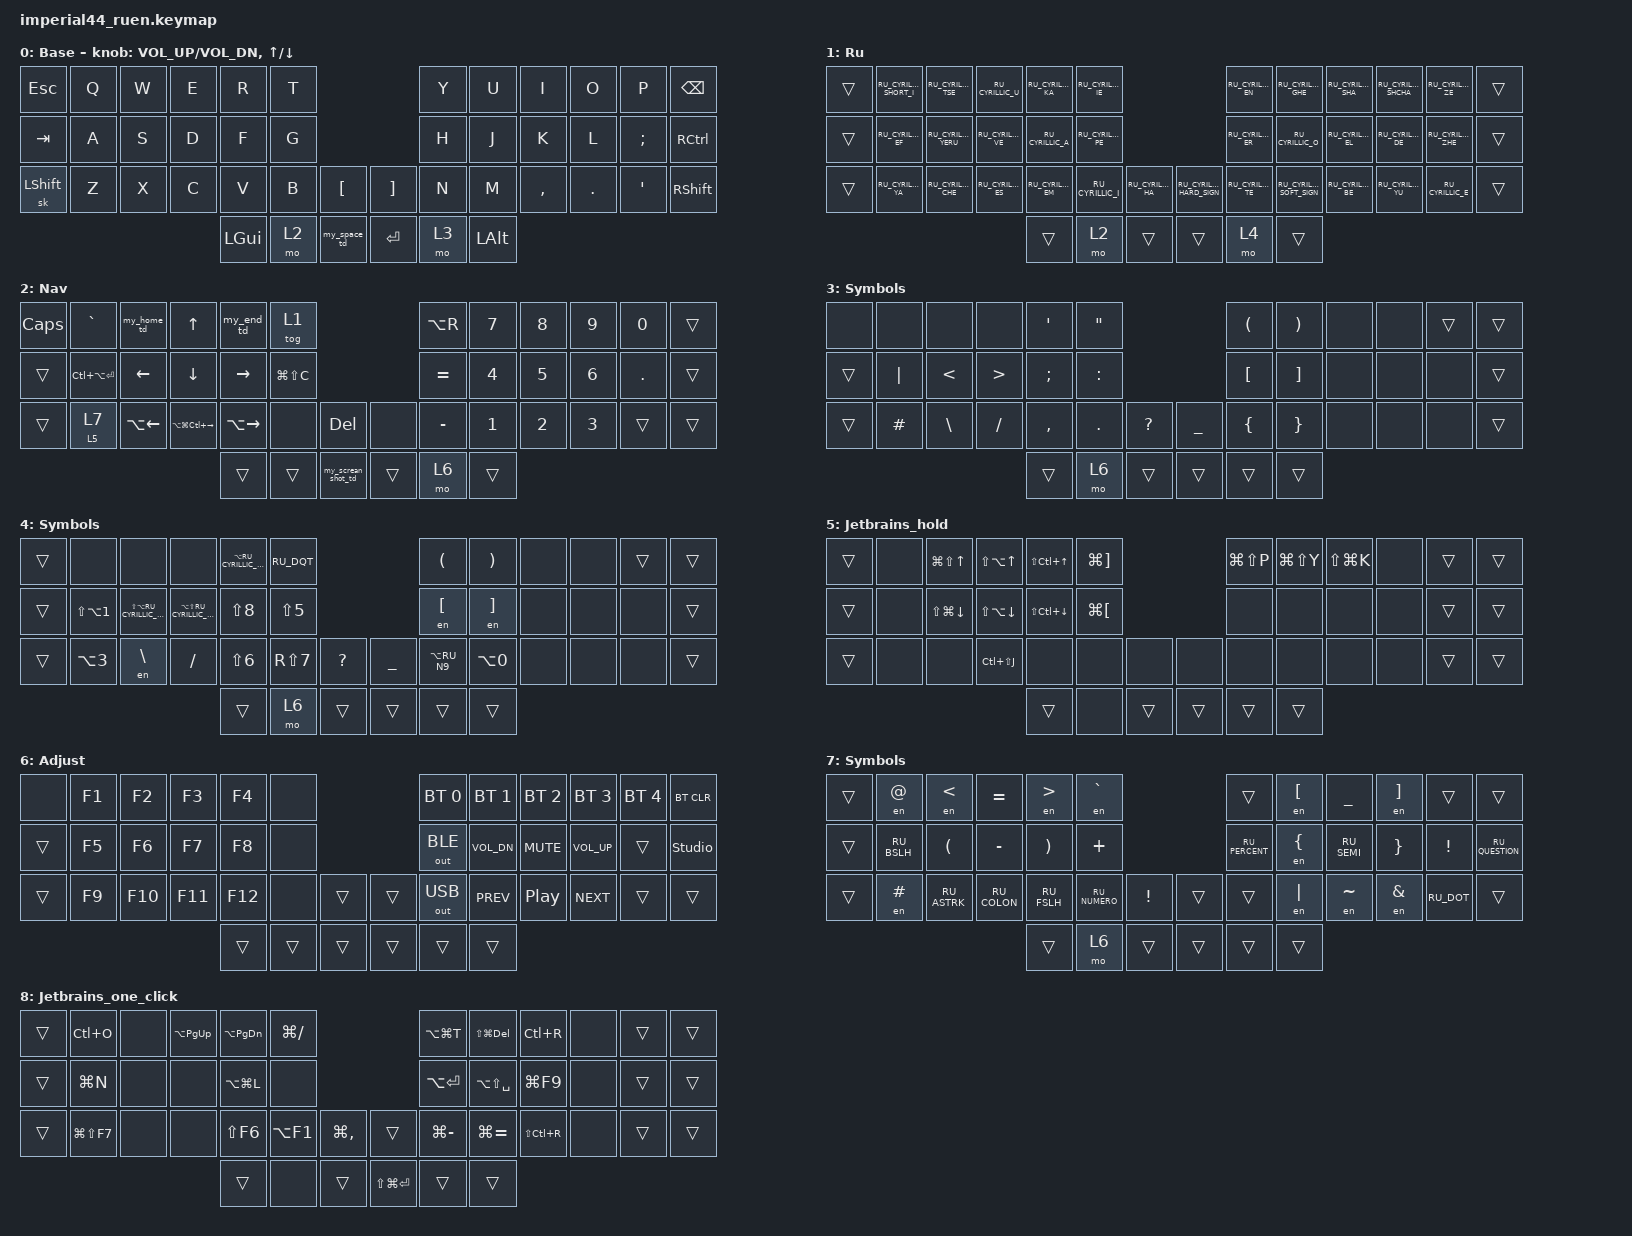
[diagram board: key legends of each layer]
#include "keys_ru.h"
#include <behaviors.dtsi>
#include <dt-bindings/zmk/bt.h>
#include <dt-bindings/zmk/keys.h>
#include <dt-bindings/zmk/outputs.h>

/ {
    combos {
        compatible = "zmk,combos";

        cmben {
            bindings = <&layer_en>;
            key-positions = <15 16>;
            layers = <1>;
        };

        cmbru {
            bindings = <&layer_ru>;
            key-positions = <15 16>;
            layers = <0>;
        };

        ley_jet {
            bindings = <&my_hold_tap_layers 5 8>;
            key-positions = <39 38>;
        };
    };

    macros {
        to_ru: to_ru {
            compatible = "zmk,behavior-macro";
            #binding-cells = <0>;
            bindings = <&kp LC(SPACE)>;
            label = "TO_RU";
            wait-ms = <0>;
            tap-ms = <30>;
        };

        to_en: to_en {
            compatible = "zmk,behavior-macro";
            #binding-cells = <0>;
            bindings = <&kp LC(SPACE)>;
            label = "TO_EN";
            wait-ms = <0>;
            tap-ms = <30>;
        };

        layer_en: layer_en {
            compatible = "zmk,behavior-macro";
            #binding-cells = <0>;
            bindings = <&to 0 &to_en>;
            label = "LAYER_EN";
            wait-ms = <0>;
            tap-ms = <30>;
        };

        layer_ru: layer_ru {
            compatible = "zmk,behavior-macro";
            #binding-cells = <0>;
            bindings = <&to 1 &to_ru>;
            label = "LAYER_RU";
            tap-ms = <30>;
            wait-ms = <0>;
        };

        en: en {
            compatible = "zmk,behavior-macro-one-param";
            #binding-cells = <1>;
            bindings =
                <&to_en>,
                <&macro_press>,
                <&macro_param_1to1 &kp MACRO_PLACEHOLDER>,
                <&macro_pause_for_release>,
                <&macro_release>,
                <&macro_param_1to1 &kp MACRO_PLACEHOLDER>,
                <&macro_tap>,
                <&to_ru>;

            label = "EN";
            wait-ms = <0>;
            tap-ms = <30>;
        };

        lg_tog: lg_tog {
            compatible = "zmk,behavior-macro";
            #binding-cells = <0>;
            bindings = <&kp LC(SPACE) &tog 1>;
            label = "LG_TOG";
        };
    };

    behaviors {
        lg_space: lg_space {
            compatible = "zmk,behavior-mod-morph";
            label = "LG_SPACE";
            bindings = <&kp SPACE>, <&lg_tog>;

            #binding-cells = <0>;
            mods = <(MOD_RCTL)>;
        };

        my_space_td: my_space_td {
            compatible = "zmk,behavior-tap-dance";
            label = "MY_SPACE_TD";
            #binding-cells = <0>;
            bindings = <&kp SPACE>, <&lg_tog>;
        };

        my_screan_shot_td: my_screan_shot_td {
            compatible = "zmk,behavior-tap-dance";
            label = "MY_SCREAN_SHOT_TD";
            #binding-cells = <0>;
            bindings = <&kp LS(LG(N4))>, <&kp LS(LG(N5))>;
        };

        my_end_td: my_end_td {
            compatible = "zmk,behavior-tap-dance";
            label = "MY_END_TD";
            #binding-cells = <0>;
            bindings = <&kp LG(RIGHT_ARROW)>, <&kp LS(LG(RIGHT_ARROW))>;
        };

        my_home_td: my_home_td {
            compatible = "zmk,behavior-tap-dance";
            label = "MY_HOME_TD";
            #binding-cells = <0>;
            bindings = <&kp LG(LEFT_ARROW)>, <&kp LG(LS(LEFT_ARROW))>;
        };

        my_hold_tap_layers: my_hold_tap_layers {
            compatible = "zmk,behavior-hold-tap";
            label = "MY_HOLD_TAP_LAYERS";
            bindings = <&mo>, <&sl>;

            #binding-cells = <2>;
            tapping-term-ms = <200>;
            flavor = "tap-preferred";
        };
    };

    keymap {
        compatible = "zmk,keymap";

        en {
            bindings = <
&kp ESC    &kp Q  &kp W  &kp E  &kp R         &kp T                             &kp Y  &kp U         &kp I      &kp O    &kp P     &kp BACKSPACE
&kp TAB    &kp A  &kp S  &kp D  &kp F         &kp G                             &kp H  &kp J         &kp K      &kp L    &kp SEMI  &kp RCTRL
&sk LSHFT  &kp Z  &kp X  &kp C  &kp V         &kp B  &kp LBKT        &kp RBKT   &kp N  &kp M         &kp COMMA  &kp DOT  &kp SQT   &kp RSHFT
                                &kp LEFT_GUI  &mo 2  &my_space_td    &kp ENTER  &mo 3  &kp LEFT_ALT
            >;

            display-name = "Base";
            sensor-bindings =
                <&inc_dec_kp C_VOL_UP C_VOL_DN>,
                <&inc_dec_kp UP DOWN_ARROW>;
        };

        ru {
            display-name = "Ru";
            bindings = <
&trans  &kp RU_CYRILLIC_SHORT_I  &kp RU_CYRILLIC_TSE   &kp RU_CYRILLIC_U   &kp RU_CYRILLIC_KA  &kp RU_CYRILLIC_IE                                                   &kp RU_CYRILLIC_EN  &kp RU_CYRILLIC_GHE        &kp RU_CYRILLIC_SHA  &kp RU_CYRILLIC_SHCHA  &kp RU_CYRILLIC_ZE   &trans
&trans  &kp RU_CYRILLIC_EF       &kp RU_CYRILLIC_YERU  &kp RU_CYRILLIC_VE  &kp RU_CYRILLIC_A   &kp RU_CYRILLIC_PE                                                   &kp RU_CYRILLIC_ER  &kp RU_CYRILLIC_O          &kp RU_CYRILLIC_EL   &kp RU_CYRILLIC_DE     &kp RU_CYRILLIC_ZHE  &trans
&trans  &kp RU_CYRILLIC_YA       &kp RU_CYRILLIC_CHE   &kp RU_CYRILLIC_ES  &kp RU_CYRILLIC_EM  &kp RU_CYRILLIC_I   &kp RU_CYRILLIC_HA    &kp RU_CYRILLIC_HARD_SIGN  &kp RU_CYRILLIC_TE  &kp RU_CYRILLIC_SOFT_SIGN  &kp RU_CYRILLIC_BE   &kp RU_CYRILLIC_YU     &kp RU_CYRILLIC_E    &trans
                                                                           &trans              &mo 2               &trans                &trans                     &mo 4               &trans
            >;
        };

        nav {
            bindings = <
&kp CAPS  &kp GRAVE                &my_home_td   &kp UP                       &my_end_td     &tog 1                                       &kp LA(R)  &kp N7  &kp N8  &kp N9  &kp N0   &trans
&trans    &kp LC(LA(ENTER))        &kp LEFT      &kp DOWN                     &kp RIGHT      &kp LG(LS(C))                                &kp EQUAL  &kp N4  &kp N5  &kp N6  &kp DOT  &trans
&trans    &my_hold_tap_layers 5 7  &kp LA(LEFT)  &kp LA(LG(LC(RIGHT_ARROW)))  &kp LA(RIGHT)  &none          &kp DELETE            &none   &kp MINUS  &kp N1  &kp N2  &kp N3  &trans   &trans
                                                                              &trans         &trans         &my_screan_shot_td    &trans  &mo 6      &trans
            >;

            display-name = "Nav";
        };

        sym_en {
            bindings = <
&none   &none     &none          &none             &kp SQT    &kp DQT                            &kp LPAR          &kp RPAR           &none  &none  &trans  &trans
&trans  &kp PIPE  &kp LESS_THAN  &kp GREATER_THAN  &kp SEMI   &kp COLON                          &kp LEFT_BRACKET  &kp RIGHT_BRACKET  &none  &none  &none   &trans
&trans  &kp HASH  &kp BSLH       &kp FSLH          &kp COMMA  &kp DOT    &kp QMARK    &kp UNDER  &kp LEFT_BRACE    &kp RIGHT_BRACE    &none  &none  &none   &trans
                                                   &trans     &mo 6      &trans       &trans     &trans            &trans
            >;

            display-name = "Symbols";
        };

        sym_ru {
            display-name = "Symbols";
            bindings = <
&trans  &none           &none                       &none                       &kp LA(RU_CYRILLIC_ZE)  &kp RU_DQT                          &kp LPAR          &kp RPAR           &none  &none  &trans  &trans
&trans  &kp LS(LA(N1))  &kp LS(LA(RU_CYRILLIC_BE))  &kp LA(LS(RU_CYRILLIC_YU))  &kp LS(N8)              &kp LS(N5)                          &en LEFT_BRACKET  &en RIGHT_BRACKET  &none  &none  &none   &trans
&trans  &kp LA(N3)      &en BACKSLASH               &kp SLASH                   &kp LS(N6)              &kp RS(N7)  &kp QMARK    &kp UNDER  &kp LA(RU_N9)     &kp LA(N0)         &none  &none  &none   &trans
                                                                                &trans                  &mo 6       &trans       &trans     &trans            &trans
            >;
        };

        Jetbrains_hold {
            bindings = <
&trans  &none  &kp LG(LS(UP_ARROW))    &kp LS(LA(UP))    &kp LS(LC(UP_ARROW))    &kp LG(RIGHT_BRACKET)                    &kp LG(LS(P))  &kp LG(LS(Y))  &kp LS(LG(K))  &none  &trans  &trans
&trans  &none  &kp LS(LG(DOWN_ARROW))  &kp LS(LA(DOWN))  &kp LS(LC(DOWN_ARROW))  &kp LG(LEFT_BRACKET)                     &none          &none          &none          &none  &trans  &trans
&trans  &none  &none                   &kp LC(LS(J))     &none                   &none                  &none     &none   &none          &none          &none          &none  &trans  &trans
                                                         &trans                  &none                  &trans    &trans  &trans         &trans
            >;
        };

        adj {
            bindings = <
&none   &kp F1  &kp F2   &kp F3   &kp F4   &none                     &bt BT_SEL 0  &bt BT_SEL 1  &bt BT_SEL 2      &bt BT_SEL 3  &bt BT_SEL 4  &bt BT_CLR
&trans  &kp F5  &kp F6   &kp F7   &kp F8   &none                     &out OUT_BLE  &kp C_VOL_DN  &kp C_MUTE        &kp C_VOL_UP  &trans        &studio_unlock
&trans  &kp F9  &kp F10  &kp F11  &kp F12  &none   &trans    &trans  &out OUT_USB  &kp C_PREV    &kp C_PLAY_PAUSE  &kp C_NEXT    &trans        &trans
                                  &trans   &trans  &trans    &trans  &trans        &trans
            >;

            display-name = "Adjust";
        };

        sym_ru_old {
            display-name = "Symbols";
            bindings = <
&trans  &en AT_SIGN  &en LT        &kp EQUAL     &en GT       &en GRAVE                                 &trans          &en LBKT  &kp UNDER    &en RBKT  &trans      &trans
&trans  &kp RU_BSLH  &kp LPAR      &kp MINUS     &kp RPAR     &kp PLUS                                  &kp RU_PERCENT  &en LBRC  &kp RU_SEMI  &kp RBRC  &kp EXCL    &kp RU_QUESTION
&trans  &en HASH     &kp RU_ASTRK  &kp RU_COLON  &kp RU_FSLH  &kp RU_NUMERO  &kp EXCLAMATION    &trans  &trans          &en PIPE  &en TILDE    &en AMPS  &kp RU_DOT  &trans
                                                 &trans       &mo 6          &trans             &trans  &trans          &trans
            >;
        };

        Jetbrains_one_click {
            bindings = <
&trans  &kp LC(O)       &none  &kp LA(PAGE_UP)  &kp LA(PAGE_DOWN)  &kp LG(FSLH)                                      &kp LA(LG(T))  &kp LS(LG(DELETE))  &kp LC(R)      &none  &trans  &trans
&trans  &kp LG(N)       &none  &none            &kp LA(LG(L))      &none                                             &kp LA(ENTER)  &kp LA(LS(SPACE))   &kp LG(F9)     &none  &trans  &trans
&trans  &kp LG(LS(F7))  &none  &none            &kp LS(F6)         &kp LA(F1)    &kp LG(COMMA)    &trans             &kp LG(MINUS)  &kp LG(EQUAL)       &kp LS(LC(R))  &none  &trans  &trans
                                                &trans             &none         &trans           &kp LS(LG(ENTER))  &trans         &trans
            >;
        };
    };
};
